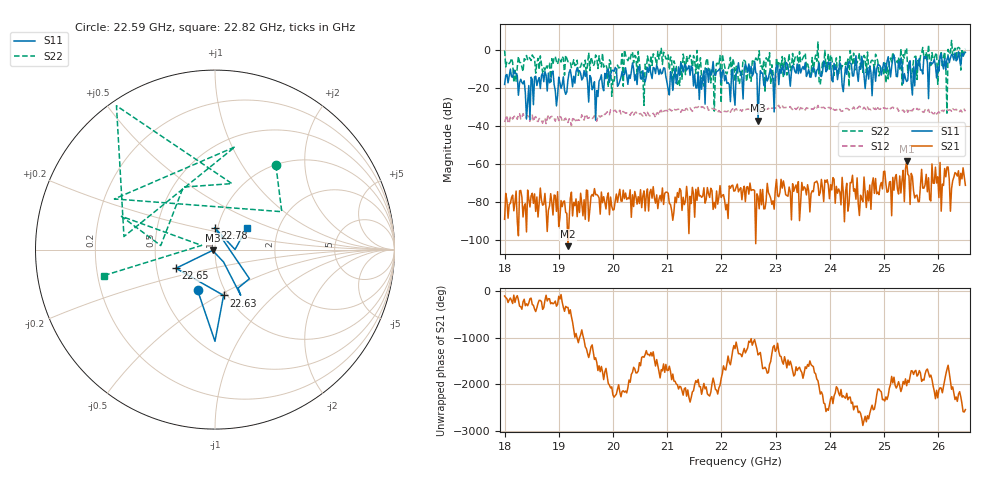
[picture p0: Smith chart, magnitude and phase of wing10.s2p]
!Keysight Technologies,N5242B,MY47200105,A.14.00.23
!Date: Friday, May 10, 2024 10:59:36
!Correction: S11(C  2-Port  )
!S21(C  2-Port  )
!S12(C  2-Port  )
!S22(C  2-Port  )
!S2P File: Measurement: :
# Hz S  RI  R 50
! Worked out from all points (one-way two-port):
!   401 points, 18 GHz to 26.5 GHz, reference 50 ohm
!   highest |S21| = -58.24 dB at 25.42 GHz (marker M1); lowest = -103.0 dB at 19.17 GHz (marker M2)
!   lowest |S11| = -37.0 dB at 22.68 GHz (marker M3), VSWR 1.03, Z = 48.7 - j0.429 ohm
!   |S11| at or under -10 dB: 18.11 GHz to 19.33 GHz (1.224 GHz wide, 6.54 % of centre); 19.35 GHz to 19.91 GHz (560.6 MHz wide, 2.86 % of centre); 22.63 GHz to 22.91 GHz (281.3 MHz wide, 1.24 % of centre) (the widest 3 of 68)
!   |S22| runs from -33.1 to 5.2 dB; largest |S21 - S12| = 0.036
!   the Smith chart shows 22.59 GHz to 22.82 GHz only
!   S11 on the Smith chart (normalised r, x): 22.59 GHz: 0.75, -0.36; 22.63 GHz: 0.96, -0.53; 22.65 GHz: 0.63, -0.14; 22.78 GHz: 0.97, +0.24; 22.82 GHz: 1.38, +0.35
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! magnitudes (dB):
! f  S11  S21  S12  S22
! 18 GHz  -17.9  -88.9  -37.6  -0.1
! 18.43 GHz  -27.6  -73.5  -34.4  -4.9
! 18.72 GHz  -16.5  -81.0  -36.2  -9.3
! 19.17 GHz  -15.5  -103.0  -38.0  -6.0
! 19.42 GHz  -15.6  -80.7  -33.9  -6.4
! 19.68 GHz  -36.7  -75.9  -36.3  -2.5
! 20.38 GHz  -9.6  -82.2  -34.0  -6.6
! 20.55 GHz  -10.7  -76.6  -34.6  -13.7
! 20.85 GHz  -12.7  -78.3  -33.9  -4.7
! 21.23 GHz  -13.3  -72.7  -32.0  -18.5
! 22.25 GHz  -28.9  -73.9  -31.2  -16.3
! 22.59 GHz  -12.1  -73.3  -31.2  -4.7
! 22.63 GHz  -11.7  -101.7  -31.7  -4.0
! 22.65 GHz  -12.4  -75.5  -31.0  -4.7
! 22.68 GHz  -37.0  -77.0  -31.3  -5.8
! 22.78 GHz  -18.3  -83.4  -31.6  -5.1
! 22.82 GHz  -13.4  -79.2  -31.2  -3.9
! 23.67 GHz  -10.3  -73.9  -30.8  -3.8
! 25.1 GHz  -8.6  -69.4  -30.0  -5.9
! 25.42 GHz  -16.4  -58.2  -31.1  1.2
! 25.61 GHz  -10.2  -76.1  -30.5  -15.3
! 26.5 GHz  -1.0  -71.0  -32.1  0.8
